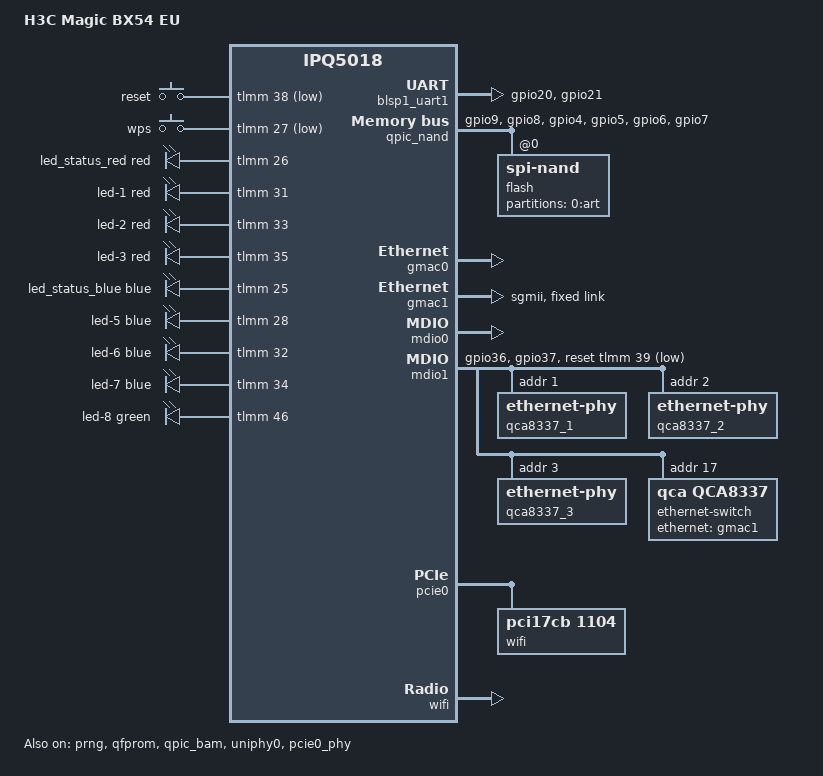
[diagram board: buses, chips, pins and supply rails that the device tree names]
// SPDX-License-Identifier: GPL-2.0-or-later OR MIT

/dts-v1/;

#include "ipq5018.dtsi"
#include "ipq5018-ess.dtsi"
#include "ipq5018-nss.dtsi"
#include "ipq5018-qcn6122.dtsi"

#include <dt-bindings/gpio/gpio.h>
#include <dt-bindings/input/input.h>
#include <dt-bindings/leds/common.h>

/ {
	model = "H3C Magic BX54 EU";
	compatible = "h3c,magic-bx54-eu", "qcom,ipq5018";

	aliases {
		serial0 = &blsp1_uart1;
		label-mac-device = &gmac0;
		led-boot = &led_status_blue;
		led-failsafe = &led_status_red;
		led-running = &led_status_blue;
		led-upgrade = &led_status_red;
	};

	chosen {
		/* the stock U-Boot passes loglevel=3, which hides the boot log on the console */
		bootargs-append = " root=/dev/ubiblock0_1 swiotlb=1 coherent_pool=2M loglevel=7";
		stdout-path = "serial0:115200n8";
	};

	keys {
		compatible = "gpio-keys";
		pinctrl-0 = <&button_pins>;
		pinctrl-names = "default";

		/* swapped compared to the RC3000 (stock DT: reset 38, wps 27) */
		button-reset {
			label = "reset";
			gpios = <&tlmm 38 GPIO_ACTIVE_LOW>;
			linux,code = <KEY_RESTART>;
		};

		button-wps {
			label = "wps";
			gpios = <&tlmm 27 GPIO_ACTIVE_LOW>;
			linux,code = <KEY_WPS_BUTTON>;
		};
	};

	leds {
		compatible = "gpio-leds";
		pinctrl-0 = <&led_pins>;
		pinctrl-names = "default";

		led_status_red: led-0 {
			color = <LED_COLOR_ID_RED>;
			function = LED_FUNCTION_STATUS;
			function-enumerator = <0>;
			gpios = <&tlmm 26 GPIO_ACTIVE_HIGH>;
		};

		led-1 {
			color = <LED_COLOR_ID_RED>;
			function = LED_FUNCTION_STATUS;
			function-enumerator = <1>;
			gpios = <&tlmm 31 GPIO_ACTIVE_HIGH>;
		};

		led-2 {
			color = <LED_COLOR_ID_RED>;
			function = LED_FUNCTION_STATUS;
			function-enumerator = <2>;
			gpios = <&tlmm 33 GPIO_ACTIVE_HIGH>;
		};

		led-3 {
			color = <LED_COLOR_ID_RED>;
			function = LED_FUNCTION_STATUS;
			function-enumerator = <3>;
			gpios = <&tlmm 35 GPIO_ACTIVE_HIGH>;
		};

		led_status_blue: led-4 {
			color = <LED_COLOR_ID_BLUE>;
			function = LED_FUNCTION_STATUS;
			function-enumerator = <0>;
			gpios = <&tlmm 25 GPIO_ACTIVE_HIGH>;
		};

		led-5 {
			color = <LED_COLOR_ID_BLUE>;
			function = LED_FUNCTION_WLAN_2GHZ;
			gpios = <&tlmm 28 GPIO_ACTIVE_HIGH>;
		};

		led-6 {
			color = <LED_COLOR_ID_BLUE>;
			function = LED_FUNCTION_STATUS;
			function-enumerator = <2>;
			gpios = <&tlmm 32 GPIO_ACTIVE_HIGH>;
		};

		led-7 {
			color = <LED_COLOR_ID_BLUE>;
			function = LED_FUNCTION_WLAN_5GHZ;
			gpios = <&tlmm 34 GPIO_ACTIVE_HIGH>;
		};

		led-8 {
			color = <LED_COLOR_ID_GREEN>;
			function = LED_FUNCTION_WAN;
			gpios = <&tlmm 46 GPIO_ACTIVE_HIGH>;
		};
	};
};

/* the stock TZ takes 4 MiB here (upstream reserves 2 MiB) */
&tz_region {
	reg = <0x0 0x4ac00000 0x0 0x400000>;
};

&sleep_clk {
	clock-frequency = <32000>;
};

&xo_board_clk {
	clock-div = <4>;
	clock-mult = <1>;
};

&blsp1_uart1 {
	status = "okay";

	pinctrl-0 = <&serial_0_pins>;
	pinctrl-names = "default";
};

&prng {
	status = "okay";
};

&qfprom {
	status = "okay";
};

&qpic_bam {
	status = "okay";
};

&qpic_nand {
	pinctrl-0 = <&qpic_pins>;
	pinctrl-names = "default";
	status = "okay";

	/* ESMT F50D1G41LB, 128 MiB */
	flash@0 {
		compatible = "spi-nand";
		reg = <0>;
		nand-ecc-engine = <&qpic_nand>;
		nand-bus-width = <8>;

		/*
		 * Names come from SMEM: the SBL swaps rootfs/rootfs_1 after
		 * a slot switch. Wi-Fi calibration (ART 0x1000 IPQ5018,
		 * 0x26800 QCN9024) and the MACs (ASCII "ethaddr" in
		 * 0:appsblenv) are handled by 11-ath11k-caldata.
		 */
		partitions {
			compatible = "qcom,smem-part";

			partition-0-art {
				label = "0:art";
				read-only;
			};
		};
	};
};

&uniphy0 {
	status = "okay";

	assigned-clocks = <&uniphy0 UNIPHY_CLK_REF>;
	assigned-clock-rates = <UNIPHY_REFCLK_25MHZ>;
};

/* MAC0 -> IPQ5018 GE PHY (WAN) */
&gmac0 {
	status = "okay";

	label = "wan";
};

/* MAC1 -SGMII-> QCA8337 port 6 (stock: switch_cpu_bmp 0x40) */
&gmac1 {
	status = "okay";

	phy-mode = "sgmii";

	fixed-link {
		speed = <1000>;
		full-duplex;
	};
};

&mdio0 {
	status = "okay";
};

&mdio1 {
	status = "okay";

	pinctrl-0 = <&mdio1_pins>;
	pinctrl-names = "default";
	reset-gpios = <&tlmm 39 GPIO_ACTIVE_LOW>;
	reset-delay-us = <10000>;
	reset-post-delay-us = <50000>;
	/* H3C U-Boot leaves an MDIO divider the driver rejects */
	clock-frequency = <1562500>;

	/*
	 * Stock (pdt_data + firmware): switch_vlan ports '2 3 4 6t',
	 * port N -> PHY N-1. Port 1 / PHY 0 is not wired.
	 */
	qca8337_1: ethernet-phy@1 {
		reg = <1>;
	};

	qca8337_2: ethernet-phy@2 {
		reg = <2>;
	};

	qca8337_3: ethernet-phy@3 {
		reg = <3>;
	};

	ethernet-switch@11 {
		compatible = "qca,qca8337";
		reg = <0x11>;
		#address-cells = <1>;
		#size-cells = <0>;

		ethernet-ports {
			#address-cells = <1>;
			#size-cells = <0>;

			/* front panel, top to bottom: lan1 (port 3), lan2 (port 4), lan3 (port 2) */
			ethernet-port@2 {
				reg = <2>;
				label = "lan3";
				phy-handle = <&qca8337_1>;
			};

			ethernet-port@3 {
				reg = <3>;
				label = "lan1";
				phy-handle = <&qca8337_2>;
			};

			ethernet-port@4 {
				reg = <4>;
				label = "lan2";
				phy-handle = <&qca8337_3>;
			};

			ethernet-port@6 {
				reg = <6>;
				label = "cpu";
				phy-mode = "sgmii";
				ethernet = <&gmac1>;
				qca,sgmii-enable-pll;

				fixed-link {
					speed = <1000>;
					full-duplex;
				};
			};
		};
	};
};

&tlmm {
	button_pins: button-state {
		pins = "gpio27", "gpio38";
		function = "gpio";
		drive-strength = <8>;
		bias-pull-up;
	};

	led_pins: led-state {
		pins = "gpio25", "gpio26", "gpio28", "gpio31",
		       "gpio32", "gpio33", "gpio34", "gpio35", "gpio46";
		function = "gpio";
		drive-strength = <8>;
		bias-disable;
	};

	mdio1_pins: mdio-state {
		mdc-pins {
			pins = "gpio36";
			function = "mdc";
			drive-strength = <8>;
			bias-pull-up;
		};

		mdio-pins {
			pins = "gpio37";
			function = "mdio";
			drive-strength = <8>;
			bias-pull-up;
		};
	};

	qpic_pins: qpic-state {
		clock-pins {
			pins = "gpio9";
			function = "qspi_clk";
			drive-strength = <8>;
			bias-disable;
		};

		cs-pins {
			pins = "gpio8";
			function = "qspi_cs";
			drive-strength = <8>;
			bias-disable;
		};

		data-pins {
			pins = "gpio4", "gpio5", "gpio6", "gpio7";
			function = "qspi_data";
			drive-strength = <8>;
			bias-disable;
		};
	};

	serial_0_pins: uart0-state {
		pins = "gpio20", "gpio21";
		function = "blsp0_uart0";
		drive-strength = <8>;
		bias-disable;
	};
};

&pcie0_phy {
	status = "okay";
};

/* QCN9024 (5 GHz, ath11k QCN9074) on the 2-lane PCIe */
&pcie0 {
	status = "okay";

	perst-gpios = <&tlmm 15 GPIO_ACTIVE_LOW>;

	pcie@0 {
		wifi@0,0 {
			status = "okay";

			compatible = "pci17cb,1104";
			reg = <0x00010000 0 0 0 0>;

			qcom,calibration-variant = "H3C-Magic-BX54-EU";
		};
	};
};

/*
 * IPQ5018 2.4 GHz. No QCN6122 on this board: the multi-PD WLAN.HK.2.7.0.1
 * image with only user PD 1 started, see ipq5018-qcn6122.dtsi. The 256 MiB
 * firmware mode leaves more RAM for NSS.
 */
&wifi {
	status = "okay";

	qcom,rproc = <&q6v5_wcss>;
	qcom,calibration-variant = "H3C-Magic-BX54-EU";
	qcom,ath11k-fw-memory-mode = <2>;
};
